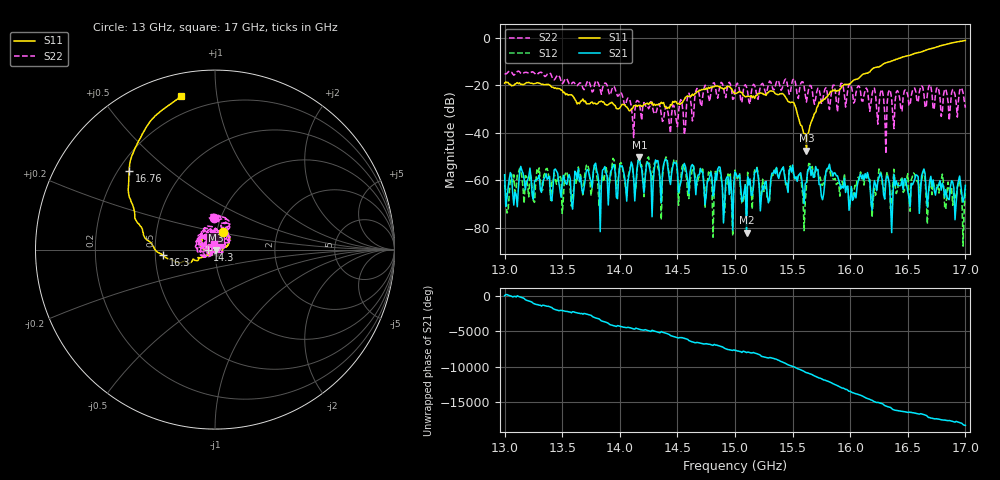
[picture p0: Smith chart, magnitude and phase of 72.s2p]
!Keysight Technologies,P9374A,MY57211807,A.19.30.04
!Date: Friday, May 01, 2026 14:24:18
!Correction: S11(C  2-Port  )
!S21(C  2-Port  )
!S12(C  2-Port  )
!S22(C  2-Port  )
!S2P File: Measurements: S11, S21, S12, S22:
# Hz S  RI  R 50
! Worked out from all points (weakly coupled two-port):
!   401 points, 13 GHz to 17 GHz, reference 50 ohm
!   highest |S21| = -50.44 dB at 14.17 GHz (marker M1); lowest = -82.1 dB at 15.1 GHz (marker M2)
!   lowest |S11| = -47.6 dB at 15.62 GHz (marker M3), VSWR 1.01, Z = 50.3 - j0.232 ohm
!   |S11| at or under -10 dB: start of sweep to 16.35 GHz
!   |S22| runs from -48.9 to -14.1 dB; largest |S21 - S12| = 0.0013
!   S11 on the Smith chart (normalised r, x): 13 GHz: 1.07, +0.22; 14.3 GHz: 0.92, -0.01; 16.3 GHz: 0.55, -0.04; 16.76 GHz: 0.24, +0.37; 17 GHz: 0.11, +0.80
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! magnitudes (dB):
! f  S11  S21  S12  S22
! 13 GHz  -19.2  -57.7  -61.9  -15.1
! 13.13 GHz  -19.1  -56.8  -55.1  -14.4
! 13.25 GHz  -19.4  -68.0  -68.6  -14.5
! 13.67 GHz  -26.6  -63.6  -62.3  -19.9
! 14.17 GHz  -28.5  -50.4  -51.2  -27.3
! 14.3 GHz  -27.9  -55.1  -52.8  -31.9
! 14.34 GHz  -27.9  -54.9  -56.2  -27.8
! 14.4 GHz  -29.1  -51.2  -50.3  -28.9
! 15 GHz  -23.6  -56.5  -55.7  -22.3
! 15.1 GHz  -24.7  -82.1  -75.3  -20.8
! 15.42 GHz  -23.8  -54.4  -55.6  -19.5
! 15.62 GHz  -47.6  -61.0  -63.0  -27.1
! 15.67 GHz  -34.5  -55.5  -54.2  -22.0
! 15.75 GHz  -26.4  -66.8  -61.9  -27.6
! 15.82 GHz  -23.7  -53.3  -55.0  -30.2
! 16.01 GHz  -18.8  -62.6  -63.2  -20.3
! 16.09 GHz  -16.3  -57.5  -56.5  -22.9
! 16.2 GHz  -12.9  -64.5  -68.4  -21.6
! 16.3 GHz  -10.7  -67.9  -64.2  -32.0
! 16.34 GHz  -10.2  -61.3  -60.3  -21.9
! 16.76 GHz  -3.8  -62.9  -62.6  -20.8
! 17 GHz  -1.2  -62.2  -63.6  -29.5
